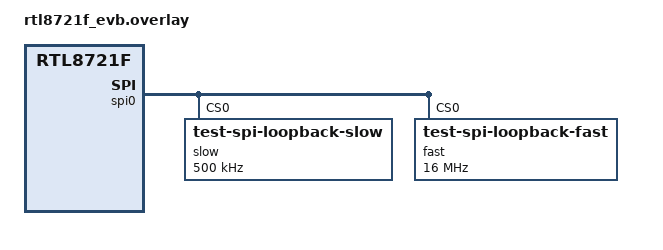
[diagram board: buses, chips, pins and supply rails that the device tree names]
/*
 * Copyright (c) 2024 Realtek Semiconductor Corp.
 *
 * SPDX-License-Identifier: Apache-2.0
 */

&spi1 {
	slow@0 {
		compatible = "test-spi-loopback-slow";
		reg = <0>;
		spi-max-frequency = <500000>;
	};
	fast@0 {
		compatible = "test-spi-loopback-fast";
		reg = <0>;
		spi-max-frequency = <16000000>;
	};
	status = "disabled";
};


&spi0 {
	slow@0 {
		compatible = "test-spi-loopback-slow";
		reg = <0>;
		spi-max-frequency = <500000>;
	};
	fast@0 {
		compatible = "test-spi-loopback-fast";
		reg = <0>;
		spi-max-frequency = <16000000>;
	};
	status = "okay";
};

&spi0 {
	pinctrl-0 = <&spi0_default>;
	pinctrl-names = "default";
};

&spi1 {
	pinctrl-0 = <&spi1_default>;
	pinctrl-names = "default";
};
